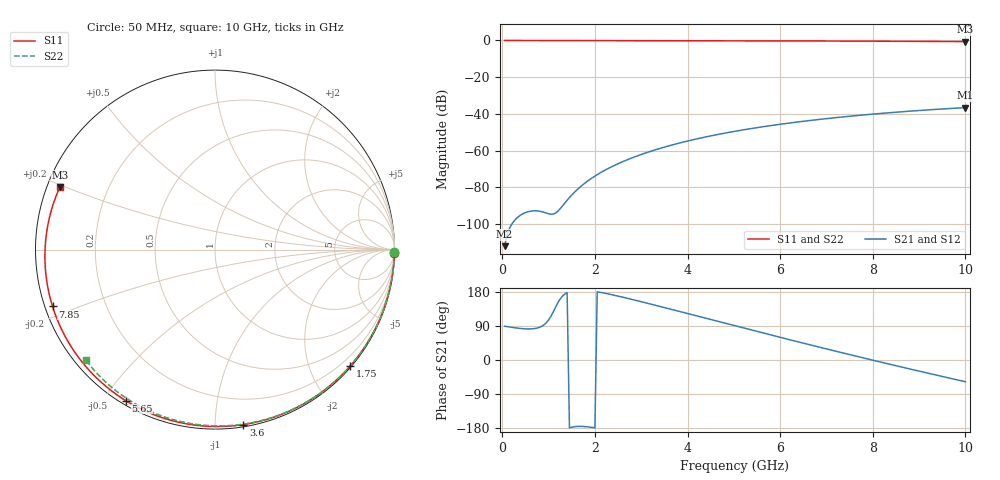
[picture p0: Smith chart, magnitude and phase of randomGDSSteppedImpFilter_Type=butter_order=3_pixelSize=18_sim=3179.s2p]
! freq	dB(S11)	phase(S11)	dB(S12)	phase(S12)
!  dB(S21)	phase(S21)	dB(S22)	phase(S22)
!S-par simulation data
#  GHz  S  DB  R 50
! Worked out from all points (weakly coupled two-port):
!   200 points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, 50 MHz to 10 GHz, reference 50 ohm
!   highest |S21| = -36.55 dB at 10 GHz (marker M1); lowest = -112.0 dB at 50 MHz (marker M2)
!   lowest |S11| = -0.6 dB at 10 GHz (marker M3), VSWR 28.31, Z = 1.83 + j9.69 ohm
!   |S11| at or under -10 dB: nowhere
!   |S22| runs from -0.5 to 0.0 dB; largest |S21 - S12| = 0
!   S11 on the Smith chart (normalised r, x): 50 MHz: 0, -95; 1.75 GHz: 0.02, -2.68; 3.6 GHz: 0.01, -1.18; 5.65 GHz: 0.02, -0.57; 7.85 GHz: 0.02, -0.17; 10 GHz: 0.04, +0.19
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0.05  -0.00 -1.2  -111.97 89.1  -111.97 89.1  -0.00 -0.8
0.4  -0.01 -9.5  -94.98 83.1  -94.98 83.1  -0.01 -6.4
0.8  -0.02 -18.9  -92.90 86.1  -92.90 86.1  -0.02 -12.8
1.2  -0.04 -28.3  -92.95 151.2  -92.95 151.2  -0.02 -19.2
1.65  -0.05 -38.6  -80.43 -175.1  -80.43 -175.1  -0.03 -26.3
1.75  -0.05 -40.9  -78.31 -175.4  -78.31 -175.4  -0.04 -27.8
2.05  -0.06 -47.6  -73.04 180.0  -73.04 180.0  -0.04 -32.5
2.45  -0.07 -56.4  -67.67 170.0  -67.67 170.0  -0.05 -38.6
2.9  -0.09 -66.2  -62.96 156.9  -62.96 156.9  -0.06 -45.5
3.4  -0.10 -76.7  -58.78 141.5  -58.78 141.5  -0.07 -52.9
3.6  -0.11 -80.8  -57.34 135.2  -57.34 135.2  -0.08 -55.9
4.3  -0.13 -94.9  -53.01 113.1  -53.01 113.1  -0.09 -66.0
5.05  -0.17 -109.4  -49.32 89.4  -49.32 89.4  -0.12 -76.5
5.65  -0.20 -120.6  -46.88 70.6  -46.88 70.6  -0.14 -84.7
6.2  -0.23 -130.7  -44.94 53.6  -44.94 53.6  -0.16 -92.0
6.7  -0.27 -139.8  -43.39 38.3  -43.39 38.3  -0.19 -98.5
7.3  -0.31 -150.7  -41.75 20.2  -41.75 20.2  -0.23 -106.2
7.85  -0.36 -160.7  -40.43 3.9  -40.43 3.9  -0.27 -113.1
8.35  -0.41 -169.9  -39.36 -10.7  -39.36 -10.7  -0.31 -119.3
8.8  -0.46 -178.3  -38.49 -23.7  -38.49 -23.7  -0.35 -124.8
9.2  -0.51 174.0  -37.78 -35.0  -37.78 -35.0  -0.38 -129.7
10  -0.61 158.0  -36.55 -57.4  -36.55 -57.4  -0.47 -139.4
